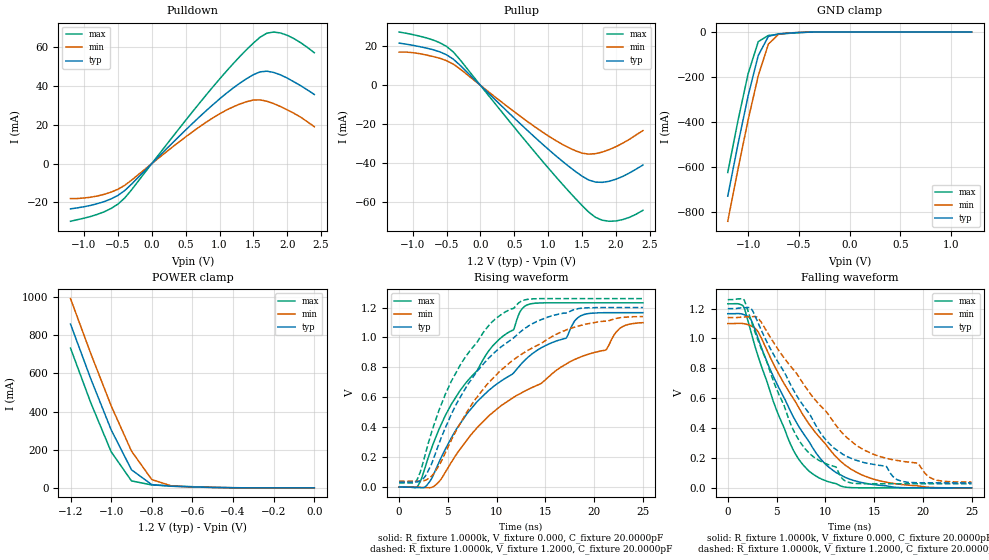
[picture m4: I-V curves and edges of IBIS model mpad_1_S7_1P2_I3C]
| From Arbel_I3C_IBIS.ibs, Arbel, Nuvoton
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[Model]   mpad_1_S7_1P2_I3C
Model_type   I/O
Polarity   Non-Inverting
Enable   Active-Low
Vinl = 0.4000V
Vinh = 0.8200V
C_comp   3.7000pF   3.6000pF   3.8000pF
[Temperature Range]   50.0000   100.0   0.000
[Voltage Range]   1.2000V   1.1400V   1.2600V
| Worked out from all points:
|   slope of the pulldown table from 0 to 0.18 V, typ, clamps not added: 28.5 ohm
|   slope of the pullup table from 0 to 0.18 V, typ, clamps not added: 29.3 ohm
|   GND clamp passes 1 mA (typ) near -0.43 V on its own axis
|   POWER clamp passes 1 mA (typ) near -0.43 V on its own axis
|   rising waveform, R_fixture 1.0000k, V_fixture 0.000, C_fixture 20.0000pF: 20-80 % time 10ns typ, 13.1ns min, 6.97ns max; typ from 0 V to 1.17 V
|   rising waveform, R_fixture 1.0000k, V_fixture 1.2000, C_fixture 20.0000pF: 20-80 % time 7.11ns typ, 8.41ns min, 5.52ns max; typ from 0.033 V to 1.2 V
|   falling waveform, R_fixture 1.0000k, V_fixture 0.000, C_fixture 20.0000pF: 20-80 % time 5.57ns typ, 6.62ns min, 4.15ns max; typ from 1.17 V to 0 V
|   falling waveform, R_fixture 1.0000k, V_fixture 1.2000, C_fixture 20.0000pF: 20-80 % time 6.8ns typ, 8.58ns min, 4.82ns max; typ from 1.2 V to 0.033 V
[Pulldown]
|   *******  Pulldown data is GROUND relative! *******
| voltage   I(typ)   I(min)   I(max)
-1.2V     -23.3mA    -18mA      -29.7mA
-700mV    -19.53mA   -15.79mA   -24.77mA
-500mV    -16.38mA   -13.21mA   -20.86mA
-400mV    -13.9mA    -11.2mA    -17.73mA
400mV     13.91mA    11.1mA     17.88mA
900mV     30.26mA    23.5mA     39.4mA
1.3V      41.42mA    30.68mA    55.14mA
1.6V      47.26mA    32.83mA    65.12mA
1.7V      47.59mA    32.13mA    67.18mA
1.9V      45.72mA    29.41mA    67.29mA
2.1V      42.11mA    25.9mA     64.37mA
2.4V      35.6mA     19mA       57.1mA
[Pullup]
|   *******  Pullup data is VCC relative! *******
| voltage   I(typ)   I(min)   I(max)
-1.2V     21.7mA     17.1mA     27.4mA
-1V       20.6mA     16.8mA     26.1mA
-700mV    18.32mA    14.82mA    23.32mA
-500mV    15.7mA     12.68mA    19.99mA
-400mV    13.45mA    10.89mA    17.15mA
900mV     -29.75mA   -23.66mA   -38.36mA
1.2V      -38.76mA   -30.17mA   -50.44mA
1.5V      -46.7mA    -34.87mA   -61.78mA
1.7V      -49.78mA   -35.15mA   -67.92mA
1.9V      -49.38mA   -33.11mA   -69.94mA
2.1V      -46.9mA    -29.8mA    -69.08mA
2.4V      -41mA      -23.3mA    -64.3mA
[GND_clamp]
| voltage   I(typ)   I(min)   I(max)
-1.2V     -728.1mA   -839.7mA   -623.2mA
-1.1V     -498.9mA   -609.8mA   -394.2mA
-1V       -283.8mA   -390.8mA   -185.4mA
-900mV    -104.2mA   -194mA     -42.71mA
-800mV    -19.12mA   -53.44mA   -14.95mA
-700mV    -7.96mA    -9.653mA   -9.919mA
-600mV    -4.561mA   -3.952mA   -5.864mA
-300mV    -35.77uA   -49.81uA   -30.9uA
1.2V      4.273nA    81.28nA    699.8pA
[POWER_clamp]
| voltage   I(typ)   I(min)   I(max)
-1.2V     859.3mA    992.9mA    733mA
-1.1V     571.2mA    703.7mA    445.6mA
-1V       304.6mA    430.7mA    189.4mA
-900mV    94.79mA    192.9mA    36.48mA
-800mV    16.82mA    43.46mA    14.94mA
-700mV    8.217mA    9.002mA    10.09mA
-400mV    511.4uA    556.1uA    552uA
0V        4.273nA    17.14nA    1.112nA
[Ramp]
| variable   typ   min   max
dV/dt_r   0.6996/3.9118n   0.6600/10.7009n   0.7392/1.7029n
dV/dt_f   0.7001/3.2130n   0.6607/4.2731n   0.7396/1.7800n
R_load = 1.0000k
[Rising Waveform]
R_fixture = 1.0000k
V_fixture = 0.000
C_fixture = 20.0000pF
| time   V(typ)   V(min)   V(max)
0s        53.97nV    315.4nV    11.8nV
1.802ns   -2.272mV   -199.1uV   -973uV
2.778ns   7.535mV    -3.62mV    155.9mV
4.73ns    252.8mV    98.38mV    478mV
6.982ns   492.5mV    318.7mV    707.5mV
11.76ns   764.6mV    601.5mV    1.054V
12.84ns   845.1mV    640.7mV    1.207V
17.12ns   994.9mV    823mV      1.232V
18.74ns   1.149V     873.4mV    1.232V
25ns      1.166V     1.099V     1.232V
[Rising Waveform]
R_fixture = 1.0000k
V_fixture = 1.2000
V_fixture_min = 1.1400
V_fixture_max = 1.2600
C_fixture = 20.0000pF
| time   V(typ)   V(min)   V(max)
0s        33.12mV    38.84mV    27.35mV
1.802ns   33.81mV    38.68mV    45.72mV
2.603ns   65.87mV    43.67mV    202mV
3.428ns   172mV      80.6mV     388.5mV
5.255ns   473.1mV    302mV      695.7mV
6.882ns   670mV      495.6mV    877.7mV
10.01ns   913.2mV    754.8mV    1.132V
12.74ns   1.053V     895.9mV    1.249V
15.72ns   1.146V     1.008V     1.26V
25ns      1.2V       1.14V      1.26V
[Falling Waveform]
R_fixture = 1.0000k
V_fixture = 0.000
C_fixture = 20.0000pF
| time   V(typ)   V(min)   V(max)
0s        1.166V     1.1V       1.232V
1.527ns   1.162V     1.1V       1.221V
2.352ns   1.129V     1.086V     1.048V
3.153ns   991.9mV    1.04V      871.8mV
6.331ns   526.1mV    638.3mV    307mV
8.634ns   275.9mV    400.4mV    96.11mV
11.04ns   104.9mV    212.4mV    29.25mV
13.89ns   33.06mV    82.4mV     75.27uV
17.89ns   1.163mV    21.89mV    335.3nV
25ns      115nV      5.172uV    141.6nV
[Falling Waveform]
R_fixture = 1.0000k
V_fixture = 1.2000
V_fixture_min = 1.1400
V_fixture_max = 1.2600
C_fixture = 20.0000pF
| time   V(typ)   V(min)   V(max)
0s        1.2V       1.14V      1.26V
1.702ns   1.206V     1.144V     1.255V
3.103ns   1.105V     1.137V     986.9mV
7.307ns   592.5mV    741.1mV    316.5mV
9.835ns   338.6mV    527.2mV    168.7mV
11.94ns   219.3mV    354mV      50.26mV
16.22ns   145.2mV    198.5mV    27.35mV
17.82ns   44.14mV    178.1mV    27.35mV
21.37ns   33.13mV    51.78mV    27.35mV
25ns      33.12mV    38.89mV    27.35mV
